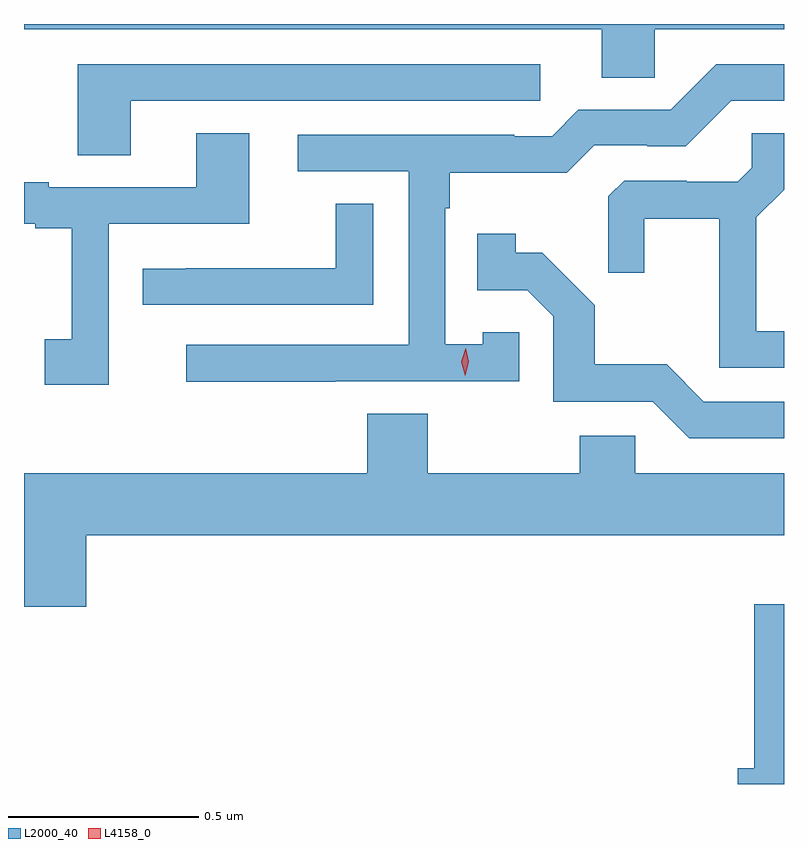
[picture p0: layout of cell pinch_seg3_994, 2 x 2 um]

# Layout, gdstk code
import gdstk
lib = gdstk.Library(unit=1e-6, precision=1e-09)
def P(c, l, *ps):  # polygons
    for p in ps: c.add(gdstk.Polygon(p, *l))
L2000_40 = (2000, 40)
L4158_0 = (4158, 0)

pinch_seg3_994 = lib.new_cell('pinch_seg3_994')
P(pinch_seg3_994, L2000_40, [(454.38,722.228),(454.72,722.228),(454.72,722.242),(452.72,722.242),(452.72,722.228),(454.241,722.228),(454.241,722.101),(454.38,722.101)],
  [(453.001,722.04),(454.078,722.04),(454.078,722.136),(452.861,722.136),(452.861,721.897),(453.001,721.897)],
  [(453.539,721.302),(454.023,721.302),(454.023,721.431),(453.927,721.431),(453.927,721.399),(453.828,721.399),(453.828,721.757),(453.841,721.757),(453.841,721.85),(454.148,721.85),(454.221,721.923),(454.36,721.923),(454.36,721.92),(454.461,721.92),(454.581,722.04),(454.72,722.04),(454.72,722.136),(454.542,722.136),(454.422,722.016),(454.179,722.016),(454.11,721.947),(454.01,721.947),(454.01,721.95),(453.441,721.95),(453.441,721.854),(453.732,721.854),(453.732,721.398),(453.147,721.398),(453.147,721.3),(453.539,721.3)],
  [(454.72,721.434),(454.647,721.434),(454.647,721.733),(454.72,721.806),(454.72,721.955),(454.635,721.955),(454.635,721.864),(454.598,721.827),(454.464,721.827),(454.464,721.83),(454.299,721.83),(454.258,721.789),(454.258,721.587),(454.352,721.587),(454.352,721.73),(454.55,721.73),(454.55,721.338),(454.72,721.338)],
  [(452.943,721.716),(453.313,721.716),(453.313,721.955),(453.173,721.955),(453.173,721.812),(452.785,721.812),(452.785,721.825),(452.72,721.825),(452.72,721.716),(452.75,721.716),(452.75,721.704),(452.846,721.704),(452.846,721.413),(452.775,721.413),(452.775,721.293),(452.943,721.293)],
  [(453.639,721.769),(453.541,721.769),(453.541,721.599),(453.145,721.599),(453.145,721.598),(453.033,721.598),(453.033,721.503),(453.639,721.503)],
  [(454.72,721.248),(454.509,721.248),(454.411,721.347),(454.222,721.347),(454.222,721.502),(454.084,721.64),(454.014,721.64),(454.014,721.69),(453.913,721.69),(453.913,721.542),(454.044,721.542),(454.113,721.473),(454.113,721.248),(454.374,721.248),(454.47,721.152),(454.72,721.152)],
  [(452.884,720.896),(454.72,720.896),(454.72,721.06),(454.329,721.06),(454.329,721.158),(454.183,721.158),(454.183,721.06),(453.783,721.06),(453.783,721.217),(453.623,721.217),(453.623,721.06),(452.72,721.06),(452.72,720.708),(452.884,720.708)],
  [(454.72,720.715),(454.642,720.715),(454.642,720.283),(454.598,720.283),(454.598,720.242),(454.72,720.242)])
P(pinch_seg3_994, L4158_0, [(453.881,721.317),(453.881,721.317),(453.871,721.353),(453.882,721.389),(453.882,721.389),(453.882,721.389),(453.891,721.353),(453.881,721.317)])

lib.write_gds('pinch_seg3_994.gds')
